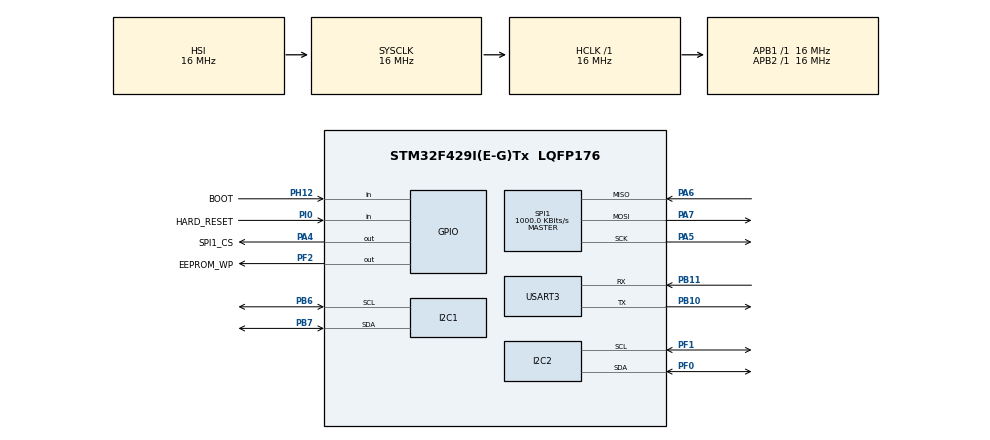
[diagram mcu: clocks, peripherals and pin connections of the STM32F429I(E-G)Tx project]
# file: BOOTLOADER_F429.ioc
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Mcu.Family=STM32F4
Mcu.Name=STM32F429I(E-G)Tx
Mcu.Package=LQFP176
NVIC.PriorityGroup=NVIC_PRIORITYGROUP_4
PA4.GPIO_Label=SPI1_CS
PA4.GPIO_PuPd=GPIO_PULLDOWN
PA4.Signal=GPIO_Output
PA5.GPIO_PuPd=GPIO_PULLDOWN
PA5.Mode=Full_Duplex_Master
PA5.Signal=SPI1_SCK
PA6.Mode=Full_Duplex_Master
PA6.Signal=SPI1_MISO
PA7.Mode=Full_Duplex_Master
PA7.Signal=SPI1_MOSI
PB10.Mode=Asynchronous
PB10.Signal=USART3_TX
PB11.Mode=Asynchronous
PB11.Signal=USART3_RX
PB6.Mode=I2C
PB6.Signal=I2C1_SCL
PB7.Mode=I2C
PB7.Signal=I2C1_SDA
PF0.Mode=I2C
PF0.Signal=I2C2_SDA
PF1.Mode=I2C
PF1.Signal=I2C2_SCL
PF2.GPIO_Label=EEPROM_WP
PF2.Signal=GPIO_Output
PH12.GPIO_Label=BOOT
PH12.Signal=GPIO_Input
PI0.GPIO_Label=HARD_RESET
PI0.Signal=GPIO_Input
ProjectManager.HeapSize=0x200
ProjectManager.StackSize=0x400
ProjectManager.TargetToolchain=MDK-ARM V5
RCC.48MHZClocksFreq_Value=180000000
RCC.AHBFreq_Value=16000000
RCC.APB1Freq_Value=16000000
RCC.APB1TimFreq_Value=16000000
RCC.APB2Freq_Value=16000000
RCC.APB2TimFreq_Value=16000000
RCC.CortexFreq_Value=16000000
RCC.HCLKFreq_Value=16000000
RCC.HSE_VALUE=8000000
RCC.HSI_VALUE=16000000
RCC.LSE_VALUE=32768
RCC.PLLM=8
RCC.PLLN=360
RCC.SYSCLKFreq_VALUE=16000000
RCC.VCOOutputFreq_Value=720000000
SPI1.BaudRatePrescaler=SPI_BAUDRATEPRESCALER_16
SPI1.CLKPhase=SPI_PHASE_2EDGE
SPI1.CalculateBaudRate=1000.0 KBits/s
SPI1.Direction=SPI_DIRECTION_2LINES
SPI1.Mode=SPI_MODE_MASTER
SPI1.VirtualType=VM_MASTER
USART3.VirtualMode=VM_ASYNC
board=custom

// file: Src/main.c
/* USER CODE BEGIN Header */
/**
  ******************************************************************************
  * @file           : main.c
  * @brief          : Main program body
  ******************************************************************************
  * @attention
  *
  * <h2><center>&copy; Copyright (c) 2020 STMicroelectronics.
  * All rights reserved.</center></h2>
  *
  * This software component is licensed by ST under BSD 3-Clause license,
  * the "License"; You may not use this file except in compliance with the
  * License. You may obtain a copy of the License at:
  *                        opensource.org/licenses/BSD-3-Clause
  *
  ******************************************************************************
  */
/* USER CODE END Header */

#include "main.h"
#include "i2c.h"
#include "spi.h"
#include "usart.h"
#include "gpio.h"

/* USER CODE BEGIN Includes */
#include <string.h>
#include "flash_if.h"
#include "common.h"
#include "menu.h"
#include "upgrade.h"
/* USER CODE END Includes */

/* USER CODE BEGIN PM */
#define WAIT_TIME 5

/* USER CODE END PM */

/* USER CODE BEGIN PV */
const char start_msg[] = "\nWaiting to enter application, Press any key to interrput";
const char VERSION[] = "\n******* BOOTLOADER VERSION 0.0.1 *******\n";
uint8_t reset_flag = 0;

/* USER CODE END PV */

void SystemClock_Config(void);

int main(void)
{
  /* USER CODE BEGIN 1 */
  //int i = 0;
//  uint8_t ch;
#if defined(USE_SRAM_FOR_FW_IMG) || defined(USE_FLASH_FOR_FW_IMG)
  uint8_t start;
#endif
  //HAL_StatusTypeDef status;
//  GPIO_PinState boot_state;

  /* USER CODE END 1 */

  /* MCU Configuration--------------------------------------------------------*/

  /* Reset of all peripherals, Initializes the Flash interface and the Systick. */
  HAL_Init();

  /* USER CODE BEGIN Init */
  FLASH_If_Init();

  /* USER CODE END Init */

  /* Configure the system clock */
  SystemClock_Config();

  /* Initialize all configured peripherals */
  MX_GPIO_Init();
  MX_USART3_UART_Init();
  MX_I2C1_Init();
  MX_I2C2_Init();
  MX_SPI1_Init();
  /* USER CODE BEGIN 2 */
  //Boot_Init();
#ifdef PRINT_DEBUG_MESSAGE
  HAL_UART_Transmit(&huart3, (uint8_t*)VERSION, strlen(VERSION), TX_TIMEOUT);
  //HAL_UART_Transmit(&huart3, (uint8_t*)start_msg, strlen(start_msg), TX_TIMEOUT);
#endif
  while (1) {
    if (HAL_GPIO_ReadPin(HARD_RESET_GPIO_Port, HARD_RESET_Pin) == GPIO_PIN_SET) {
      break;
    }
  }
  startup_process();
  CLEAR_BIT(huart3.Instance->SR, USART_SR_RXNE);
  __HAL_UART_FLUSH_DRREGISTER(&huart3);
  //HAL_TIM_Base_Start_IT(&htim3);
#if 0
  if (HAL_UART_Receive(&huart3, &ch, 1, 5 * 1000) == HAL_TIMEOUT) {
    startup_process();
  }
#endif
  Main_Menu();

  /* USER CODE END 2 */

  /* Infinite loop */
  /* USER CODE BEGIN WHILE */
#if 0
  while (++i <= WAIT_TIME) {
    status = HAL_UART_Receive(&huart3, (uint8_t*)&ch, 1, 1000);
    if (status == HAL_OK) {
      HAL_UART_Transmit(&huart3, (uint8_t*)"\n", 1, TX_TIMEOUT);
      Main_Menu();
      break;
    }
    HAL_UART_Transmit(&huart3, (uint8_t*)".", 1, TX_TIMEOUT);
  }

  HAL_UART_Transmit(&huart3, (uint8_t*)"\n", 1, TX_TIMEOUT);
#endif

  while (1)
  {
    /* USER CODE END WHILE */

  }
}

void SystemClock_Config(void)
{
  RCC_OscInitTypeDef RCC_OscInitStruct = {0};
  RCC_ClkInitTypeDef RCC_ClkInitStruct = {0};

  /** Configure the main internal regulator output voltage
  */
  __HAL_RCC_PWR_CLK_ENABLE();
  __HAL_PWR_VOLTAGESCALING_CONFIG(PWR_REGULATOR_VOLTAGE_SCALE3);
  /** Initializes the CPU, AHB and APB busses clocks
  */
  RCC_OscInitStruct.OscillatorType = RCC_OSCILLATORTYPE_HSI;
  RCC_OscInitStruct.HSIState = RCC_HSI_ON;
  RCC_OscInitStruct.HSICalibrationValue = RCC_HSICALIBRATION_DEFAULT;
  RCC_OscInitStruct.PLL.PLLState = RCC_PLL_NONE;
  if (HAL_RCC_OscConfig(&RCC_OscInitStruct) != HAL_OK)
  {
    Error_Handler();
  }
  /** Initializes the CPU, AHB and APB busses clocks
  */
  RCC_ClkInitStruct.ClockType = RCC_CLOCKTYPE_HCLK|RCC_CLOCKTYPE_SYSCLK
                              |RCC_CLOCKTYPE_PCLK1|RCC_CLOCKTYPE_PCLK2;
  RCC_ClkInitStruct.SYSCLKSource = RCC_SYSCLKSOURCE_HSI;
  RCC_ClkInitStruct.AHBCLKDivider = RCC_SYSCLK_DIV1;
  RCC_ClkInitStruct.APB1CLKDivider = RCC_HCLK_DIV1;
  RCC_ClkInitStruct.APB2CLKDivider = RCC_HCLK_DIV1;

  if (HAL_RCC_ClockConfig(&RCC_ClkInitStruct, FLASH_LATENCY_0) != HAL_OK)
  {
    Error_Handler();
  }
}

/* USER CODE BEGIN 4 */
void Boot_Init(void)
{
  if (__HAL_RCC_GET_FLAG(RCC_FLAG_BORRST) != RESET){
    SET_RESETFLAG(BOR_RESET_BIT);
  }
  if (__HAL_RCC_GET_FLAG(RCC_FLAG_PINRST) != RESET){
    SET_RESETFLAG(PIN_RESET_BIT);
  }
  if (__HAL_RCC_GET_FLAG(RCC_FLAG_PORRST) != RESET){
    SET_RESETFLAG(POR_RESET_BIT);
  }
  if (__HAL_RCC_GET_FLAG(RCC_FLAG_SFTRST) != RESET){
    SET_RESETFLAG(SFT_RESET_BIT);
  }
  if (__HAL_RCC_GET_FLAG(RCC_FLAG_IWDGRST) != RESET){
    SET_RESETFLAG(IWDG_RESET_BIT);
  }
  if (__HAL_RCC_GET_FLAG(RCC_FLAG_WWDGRST) != RESET){
    SET_RESETFLAG(WWDG_RESET_BIT);
  }
  if (__HAL_RCC_GET_FLAG(RCC_FLAG_LPWRRST) != RESET){
    SET_RESETFLAG(LPWR_RESET_BIT);
  }
}

#if 0
void HAL_TIM_PeriodElapsedCallback(TIM_HandleTypeDef *htim)
{
  if (htim->Instance == htim3.Instance) {
    HAL_GPIO_TogglePin(LED1_GPIO_Port, LED1_Pin);
  }
}
#endif

/* USER CODE END 4 */

void Error_Handler(void)
{
}

/************************ (C) COPYRIGHT STMicroelectronics *****END OF FILE****/
